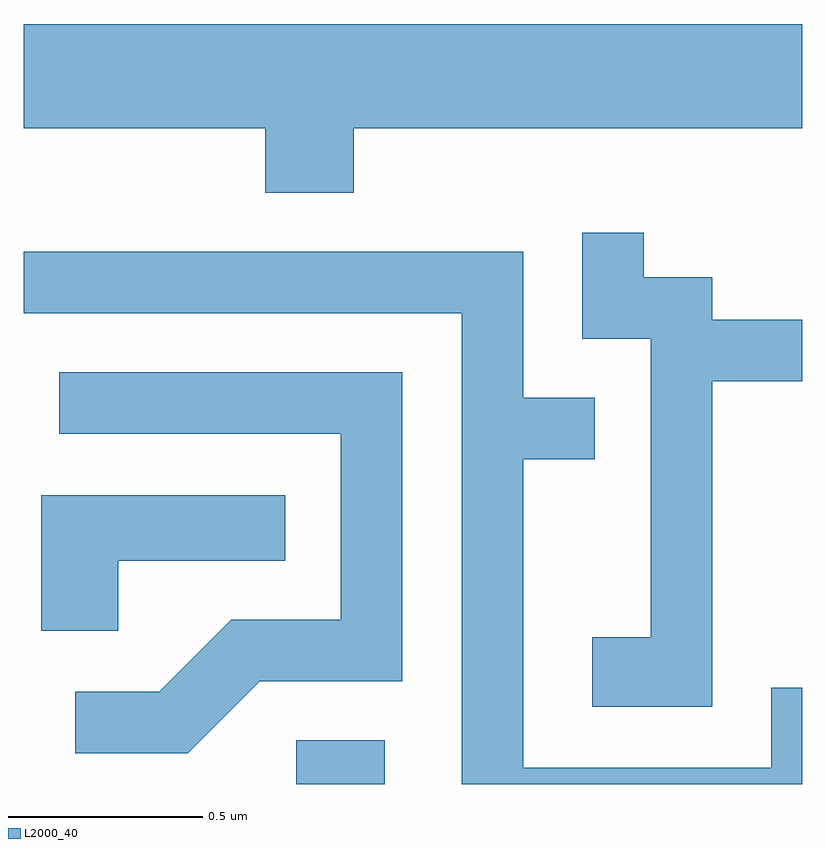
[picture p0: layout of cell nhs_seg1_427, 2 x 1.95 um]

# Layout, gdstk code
import gdstk
lib = gdstk.Library(unit=1e-6, precision=1e-09)
def R(c, l, rs):  # rectangles x0, y0, x1, y1
    for r in rs: c.add(gdstk.rectangle(r[:2], r[2:], *l))
def P(c, l, *ps):  # polygons
    for p in ps: c.add(gdstk.Polygon(p, *l))
L2000_40 = (2000, 40)

nhs_seg1_427 = lib.new_cell('nhs_seg1_427')
R(nhs_seg1_427, L2000_40, [(189.311,855.712,189.539,855.824)])
P(nhs_seg1_427, L2000_40, [(189.459,857.396),(190.611,857.396),(190.611,857.664),(188.611,857.664),(188.611,857.396),(189.231,857.396),(189.231,857.231),(189.459,857.231)],
  [(190.379,856.746),(190.611,856.746),(190.611,856.904),(190.379,856.904),(190.379,857.014),(190.204,857.014),(190.204,857.128),(190.046,857.128),(190.046,856.856),(190.221,856.856),(190.221,856.089),(190.071,856.089),(190.071,855.911),(190.379,855.911)],
  [(190.611,855.959),(190.531,855.959),(190.531,855.754),(189.894,855.754),(189.894,856.546),(190.078,856.546),(190.078,856.704),(189.894,856.704),(189.894,857.079),(188.611,857.079),(188.611,856.921),(189.736,856.921),(189.736,855.712),(190.611,855.712)],
  [(189.217,855.976),(189.584,855.976),(189.584,856.769),(188.703,856.769),(188.703,856.611),(189.426,856.611),(189.426,856.134),(189.144,856.134),(188.959,855.949),(188.743,855.949),(188.743,855.791),(189.032,855.791)],
  [(188.854,856.286),(189.283,856.286),(189.283,856.454),(188.656,856.454),(188.656,856.106),(188.854,856.106)])

lib.write_gds('nhs_seg1_427.gds')
